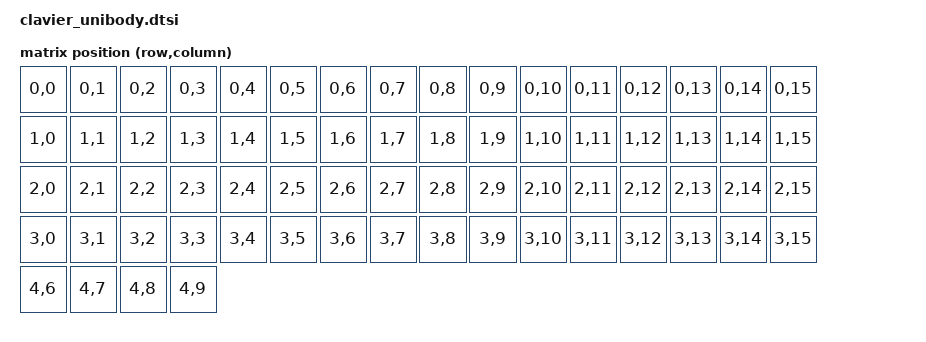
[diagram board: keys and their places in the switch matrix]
#include <dt-bindings/zmk/matrix_transform.h>

/ {
    chosen {
        zmk,kscan = &kscan0;
        zmk,matrix-transform = &default_transform;
    };

    /*
     * 回路図マトリクス基準のトランスフォーム定義（左右一体・単一マイコン版）。
     * KiCad基板データ（Unibody_64keys）から実測した配線どおりに、
     * Row0〜4（5行）× Col0〜15（16列）の格子へ、そのままインデックス 0〜67 を割り当てます。
     * Row4（親指クラスタ）は Col6〜9 の4キーのみが実装されています。
     *
     * この並び順は config/clavier.json の layout 配列、および
     * clavier_unibody.keymap の bindings 配列と1対1で対応している必要があります
     * （インデックス i の物理キー = layout[i] = bindings[i]）。
     */
    default_transform: keymap_transform_0 {
        compatible = "zmk,matrix-transform";
        columns = <16>;
        rows = <5>;

        map = <
            RC(0,0)  RC(0,1)  RC(0,2)  RC(0,3)  RC(0,4)  RC(0,5)  RC(0,6)  RC(0,7)  RC(0,8)  RC(0,9)  RC(0,10) RC(0,11) RC(0,12) RC(0,13) RC(0,14) RC(0,15)  // Row0 (0-15)
            RC(1,0)  RC(1,1)  RC(1,2)  RC(1,3)  RC(1,4)  RC(1,5)  RC(1,6)  RC(1,7)  RC(1,8)  RC(1,9)  RC(1,10) RC(1,11) RC(1,12) RC(1,13) RC(1,14) RC(1,15)  // Row1 (16-31)
            RC(2,0)  RC(2,1)  RC(2,2)  RC(2,3)  RC(2,4)  RC(2,5)  RC(2,6)  RC(2,7)  RC(2,8)  RC(2,9)  RC(2,10) RC(2,11) RC(2,12) RC(2,13) RC(2,14) RC(2,15)  // Row2 (32-47)
            RC(3,0)  RC(3,1)  RC(3,2)  RC(3,3)  RC(3,4)  RC(3,5)  RC(3,6)  RC(3,7)  RC(3,8)  RC(3,9)  RC(3,10) RC(3,11) RC(3,12) RC(3,13) RC(3,14) RC(3,15)  // Row3 (48-63)
            RC(4,6)  RC(4,7)  RC(4,8)  RC(4,9)                                                                                                              // Row4 親指 (64-67)
        >;
    };
};
